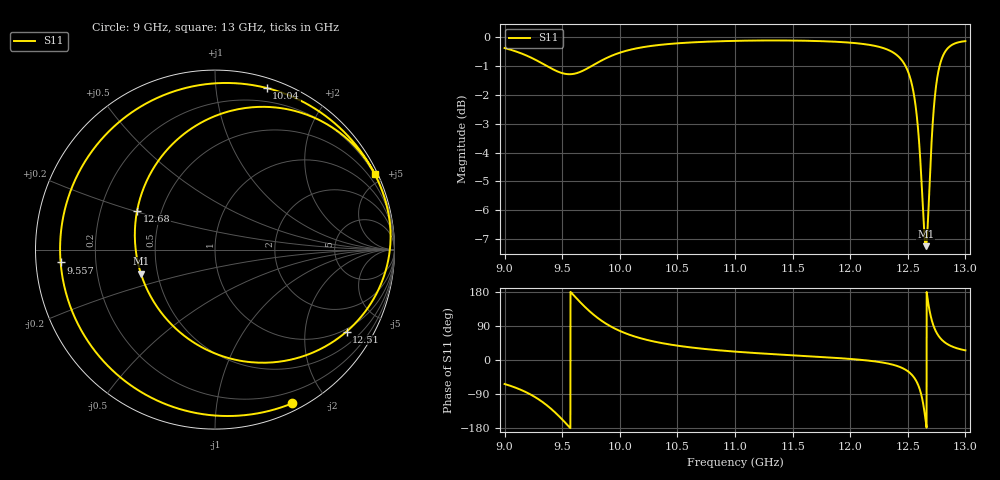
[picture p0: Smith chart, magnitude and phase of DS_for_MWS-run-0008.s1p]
! TOUCHSTONE file generated by CST DESIGN STUDIO
! Date and time: Tue Feb  4 16:06:22 2025
! Project name: C:\Work\MatlabApps\UnitCellOptimizationMatlab\CST\unitcell.cst
! Tree item: Tasks\Sweep1\SPara1\S-Parameters
! Header version: 2024
! Port assignment regex: !\s*Touchstone port\s*([0-9]+)\s*=\s*(CST MWS port|CST DES external port|CST DES block port)\s*(.+)\s* \(\"(.*)\"\)(\s*mode\s*([0-9]+))?.*
! Touchstone port assignment:
! Touchstone port 1 = CST DES external port 1 ("")
# GHz S MA R 50
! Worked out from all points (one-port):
!   4001 points, 9 GHz to 13 GHz, reference 50 ohm
!   lowest |S11| = -7.2 dB at 12.66 GHz (marker M1), VSWR 2.53, Z = 20.1 - j6.65 ohm
!   |S11| at or under -10 dB: nowhere
!   S11 on the Smith chart (normalised r, x): 9 GHz: 0.08, -1.62; 9.557 GHz: 0.07, -0.04; 10.04 GHz: 0.08, +1.37; 12.51 GHz: 0.91, -3.26; 12.68 GHz: 0.36, +0.21; 13 GHz: 0.16, +4.43
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9  0.9584 -63.3
9.3  0.9072 -104.7
9.401  0.8843 -128.2
9.5  0.8668 -156.9
9.557  0.8631 -175.3
9.65  0.8701 154.5
9.768  0.8948 120.7
9.87  0.9178 97.9
10  0.9406 76.8
10.035  0.9453 72.3
10.237  0.9642 52.9
10.5  0.9765 37.8
11  0.9862 22.1
11.5  0.9874 12.4
12  0.9791 2.8
12.314  0.9541 -8.5
12.5  0.8743 -29.6
12.51  0.8636 -31.9
12.56  0.7801 -48.6
12.603  0.6376 -76.6
12.63  0.5096 -109.7
12.656  0.4342 -162.0
12.676  0.4851 153.5
12.71  0.6777 102.9
12.747  0.828 73.7
12.788  0.9097 55.6
12.838  0.953 43.0
13  0.9851 25.4
